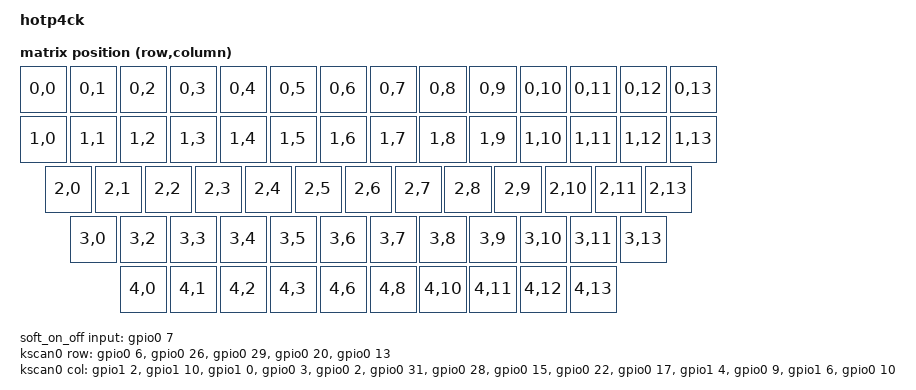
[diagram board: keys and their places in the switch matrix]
/*
 * Copyright (c) 2020 The ZMK Contributors
 *
 * SPDX-License-Identifier: MIT
 */

/dts-v1/;
#include <nordic/nrf52840_qiaa.dtsi>
#include <dt-bindings/zmk/matrix_transform.h>

/ {
	model = "hotp4ck";
	compatible = "hotp4ck,rev_a";

	chosen {
		zephyr,code-partition = &code_partition;
		zephyr,sram = &sram0;
		zephyr,flash = &flash0;
		zmk,battery = &fuelgauge;
		zmk,kscan = &kscan0;
		zmk,matrix_transform = &default_transform;
		/* zephyr,console = &cdc_acm_uart; */
	};

	behaviors {
		hw_soft_off: behavior_hw_soft_off {
			compatible = "zmk,behavior-soft-off";
			label = "soft_off";
			hold-time-ms = <3000>;
		};
	};

	leds {
		compatible = "gpio-leds";
		blue_led: led_0 {
			gpios = <&gpio0 31 GPIO_ACTIVE_HIGH>;
			label = "Blue LED";
		};
	};

	keys {
		compatible = "gpoi-keys";
		wakeup_key: wakeup_key {
			gpios = <&gpio0 7 (GPIO_ACTIVE_HIGH | GPIO_PULL_DOWN)>;
		};
	};

	wakeup_source: wakeup_source {
		compatible = "zmk,wakeup-trigger-key";

		trigger = <&wakeup_key>;
		wakeup-source;
		extra-gpios
			= <&gpio0 20 GPIO_ACTIVE_HIGH>
			;
	};

	soft_off_behavior_key {
		compatible = "zmk,behavior-key-scanned";
		status = "okay";
		bindings = <&hw_soft_off>;
		key = <&wakeup_key>;
	};

	soft_off_wakers {
		compatible = "zmk,soft-off-wakeup-sources";
		wakeup=sources = <&wakeup_source>;
	}

	soft_on_off {
		compatible = "zmk,soft-on-off-gpio";

		input-gpios = <&gpio0 7 (GPIO_ACTIVE_HIGH | GPIO_PULL_DOWN)>;
		wakeup-sources = <&kscan0>;
		output-gpios
			= <&gpio0 20 GPIO_ACTIVE_HIGH>
			;
	};

	default_transform: keymap_transform_0 {
		compatible = "zmk,matrix-transform";
		columns = <14>;
		rows = <5>;
		map = <
			RC(0,0) RC(0,1) RC(0,2) RC(0,3) RC(0,4) RC(0,5) RC(0,6) RC(0,7) RC(0,8) RC(0,9) RC(0,10) RC(0,11) RC(0,12)     RC(0,13)
			RC(1,0)   RC(1,1) RC(1,2) RC(1,3) RC(1,4) RC(1,5) RC(1,6) RC(1,7) RC(1,8) RC(1,9) RC(1,10) RC(1,11) RC(1,12)   RC(1,13)
			RC(2,0)     RC(2,1) RC(2,2) RC(2,3) RC(2,4) RC(2,5) RC(2,6) RC(2,7) RC(2,8) RC(2,9) RC(2,10) RC(2,11)          RC(2,13)
			RC(3,0)       RC(3,2) RC(3,3) RC(3,4) RC(3,5) RC(3,6) RC(3,7) RC(3,8) RC(3,9) RC(3,10)    RC(3,11)             RC(3,13)
			RC(4,0)   RC(4,1)   RC(4,2)   RC(4,3)            RC(4,6)          RC(4,8)      RC(4,10)   RC(4,11)   RC(4,12)  RC(4,13)
			>;
	};

	kscan0: kscan {
		compatible = "zmk,kscan-gpio-matrix";
		label = "KSCAN";
		diode-direction = "col2row";
		wakeup-source;
		row-gpios
			= <&gpio0 6  (GPIO_ACTIVE_HIGH | GPIO_PULL_DOWN)>
			, <&gpio0 26 (GPIO_ACTIVE_HIGH | GPIO_PULL_DOWN)>
			, <&gpio0 29 (GPIO_ACTIVE_HIGH | GPIO_PULL_DOWN)>
			, <&gpio0 20 (GPIO_ACTIVE_HIGH | GPIO_PULL_DOWN)>
			, <&gpio0 13 (GPIO_ACTIVE_HIGH | GPIO_PULL_DOWN)>
			;
		col-gpios
			= <&gpio1 2  GPIO_ACTIVE_HIGH>
			, <&gpio1 10 GPIO_ACTIVE_HIGH>
			, <&gpio1 0  GPIO_ACTIVE_HIGH>
			, <&gpio0 3  GPIO_ACTIVE_HIGH>
			, <&gpio0 2  GPIO_ACTIVE_HIGH>
			, <&gpio0 31 GPIO_ACTIVE_HIGH>
			, <&gpio0 28 GPIO_ACTIVE_HIGH>
			, <&gpio0 15 GPIO_ACTIVE_HIGH>
			, <&gpio0 22 GPIO_ACTIVE_HIGH>
			, <&gpio0 17 GPIO_ACTIVE_HIGH>
			, <&gpio1 4  GPIO_ACTIVE_HIGH>
			, <&gpio0 9  GPIO_ACTIVE_HIGH>
			, <&gpio1 6  GPIO_ACTIVE_HIGH>
			, <&gpio0 10 GPIO_ACTIVE_HIGH>
			;
	};
};

&gpio0 {
	status = "okay";
};

&gpio1 {
	status = "okay";
};

&usbd {
    status = "okay";
/*     cdc_acm_uart: cdc_acm_uart {
        compatible = "zephyr,cdc-acm-uart";
        label = "CDC_ACM_0";
    }; */
};

&pinctrl {
       i2c0_default: i2c0_default {
               group1 {
                       psels = <NRF_PSEL(TWIM_SDA, 0, 5)>,
                               <NRF_PSEL(TWIM_SCL, 1, 9)>;
               };
       };

       i2c0_sleep: i2c0_sleep {
               group1 {
                       psels = <NRF_PSEL(TWIM_SDA, 0, 5)>,
                               <NRF_PSEL(TWIM_SCL, 1, 9)>;
                       low-power-enable;
               };
       };
};

&i2c0 {
    status = "okay";
    compatible = "nordic,nrf-twim";
    pinctrl-0 = <&i2c0_default>;
    pinctrl-1 = <&i2c0_sleep>;
    pinctrl-names = "default", "sleep";
    clock-frequency = <100000>;

    fuelgauge:max17048@36 {
    	compatible = "zmk,maxim-max17048";
    	reg = <0x36>;
    };
};

&flash0 {
	/*
	 * For more information, see:
	 * http://docs.zephyrproject.org/latest/devices/dts/flash_partitions.html
	 */
	partitions {
		compatible = "fixed-partitions";
		#address-cells = <1>;
		#size-cells = <1>;

		sd_partition: partition@0 {
			label = "softdevice";
			reg = <0x00000000 0x00026000>;
		};
		code_partition: partition@26000 {
			label = "code_partition";
			reg = <0x00026000 0x000c6000>;
		};

		/*
		 * The flash starting at 0x000ec000 and ending at
		 * 0x000f3fff is reserved for use by the application.
		 */

		/*
		 * Storage partition will be used by FCB/LittleFS/NVS
		 * if enabled.
		 */
		storage_partition: partition@ec000 {
			label = "storage";
			reg = <0x000ec000 0x00008000>;
		};

		boot_partition: partition@f4000 {
			label = "adafruit_boot";
			reg = <0x000f4000 0x0000c000>;
		};
	};
};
